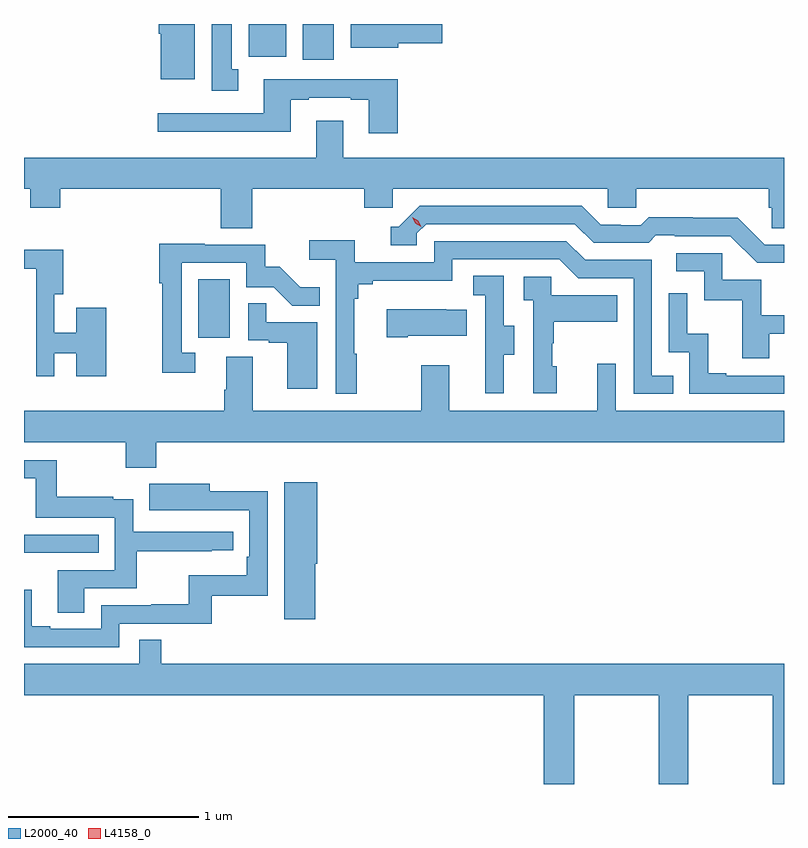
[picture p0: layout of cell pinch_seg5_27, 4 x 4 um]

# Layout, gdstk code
import gdstk
lib = gdstk.Library(unit=1e-6, precision=1e-09)
def R(c, l, rs):  # rectangles x0, y0, x1, y1
    for r in rs: c.add(gdstk.rectangle(r[:2], r[2:], *l))
def P(c, l, *ps):  # polygons
    for p in ps: c.add(gdstk.Polygon(p, *l))
L2000_40 = (2000, 40)
L4158_0 = (4158, 0)

pinch_seg5_27 = lib.new_cell('pinch_seg5_27')
R(pinch_seg5_27, L2000_40, [(1117.226,909.456,1117.619,909.552), (1118.144,910.59,1118.308,910.897), (1118.693,912.051,1118.857,912.24), (1118.408,912.068,1118.605,912.24)])
P(pinch_seg5_27, L2000_40, [(1118.125,912.24),(1117.934,912.24),(1117.934,912.188),(1117.946,912.188),(1117.946,911.948),(1118.125,911.948)],
  [(1118.353,912.002),(1118.32,912.002),(1118.32,912.24),(1118.213,912.24),(1118.213,911.889),(1118.353,911.889)],
  [(1119.196,912.14),(1119.427,912.14),(1119.427,912.24),(1118.945,912.24),(1118.945,912.116),(1119.196,912.116)],
  [(1119.194,911.95),(1118.949,911.95),(1118.949,911.949),(1118.489,911.949),(1118.489,911.769),(1117.929,911.769),(1117.929,911.672),(1118.629,911.672),(1118.629,911.841),(1118.725,911.841),(1118.725,911.853),(1118.945,911.853),(1118.945,911.841),(1119.041,911.841),(1119.041,911.664),(1119.194,911.664)],
  [(1118.905,911.731),(1118.765,911.731),(1118.765,911.536),(1117.226,911.536),(1117.226,911.372),(1117.258,911.372),(1117.258,911.273),(1117.418,911.273),(1117.418,911.372),(1118.261,911.372),(1118.261,911.164),(1118.426,911.164),(1118.426,911.372),(1119.017,911.372),(1119.017,911.274),(1119.168,911.274),(1119.168,911.372),(1120.299,911.372),(1120.299,911.274),(1120.449,911.274),(1120.449,911.372),(1121.147,911.372),(1121.147,911.274),(1121.161,911.274),(1121.161,911.164),(1121.226,911.164),(1121.226,911.536),(1118.905,911.536)],
  [(1121.226,911.079),(1121.124,911.079),(1120.982,911.221),(1120.746,911.221),(1120.746,911.224),(1120.513,911.224),(1120.471,911.181),(1120.368,911.181),(1120.368,911.184),(1120.261,911.184),(1120.162,911.283),(1119.309,911.283),(1119.198,911.172),(1119.155,911.172),(1119.155,911.076),(1119.294,911.076),(1119.294,911.139),(1119.342,911.187),(1120.125,911.187),(1120.224,911.088),(1120.513,911.088),(1120.552,911.127),(1120.651,911.127),(1120.651,911.124),(1120.944,911.124),(1121.085,910.983),(1121.226,910.983)],
  [(1118.977,910.505),(1118.965,910.505),(1118.965,910.793),(1118.984,910.793),(1118.984,910.87),(1119.061,910.87),(1119.061,910.889),(1119.48,910.889),(1119.48,911.001),(1120.044,911.001),(1120.143,910.902),(1120.434,910.902),(1120.434,910.293),(1120.643,910.293),(1120.643,910.389),(1120.53,910.389),(1120.53,910.998),(1120.18,910.998),(1120.081,911.097),(1119.384,911.097),(1119.384,910.986),(1118.966,910.986),(1118.966,911.102),(1118.727,911.102),(1118.727,911),(1118.868,911),(1118.868,910.293),(1118.977,910.293)],
  [(1118.128,910.509),(1118.055,910.509),(1118.055,910.983),(1118.397,910.983),(1118.397,910.854),(1118.541,910.854),(1118.639,910.756),(1118.783,910.756),(1118.783,910.855),(1118.679,910.855),(1118.572,910.962),(1118.496,910.962),(1118.496,911.079),(1118.177,911.079),(1118.177,911.084),(1117.939,911.084),(1117.939,910.876),(1117.954,910.876),(1117.954,910.404),(1118.128,910.404)],
  [(1117.386,910.506),(1117.502,910.506),(1117.502,910.386),(1117.66,910.386),(1117.66,910.747),(1117.502,910.747),(1117.502,910.616),(1117.386,910.616),(1117.386,910.817),(1117.433,910.817),(1117.433,911.052),(1117.226,911.052),(1117.226,910.952),(1117.29,910.952),(1117.29,910.386),(1117.386,910.386)],
  [(1121.149,910.611),(1121.226,910.611),(1121.226,910.707),(1121.107,910.707),(1121.107,910.893),(1120.902,910.893),(1120.902,911.034),(1120.659,911.034),(1120.659,910.938),(1120.806,910.938),(1120.806,910.785),(1121.005,910.785),(1121.005,910.482),(1121.149,910.482)],
  [(1119.751,910.498),(1119.805,910.498),(1119.805,910.653),(1119.75,910.653),(1119.75,910.916),(1119.591,910.916),(1119.591,910.813),(1119.654,910.813),(1119.654,910.509),(1119.653,910.509),(1119.653,910.296),(1119.751,910.296)],
  [(1120.03,910.44),(1120.005,910.44),(1120.005,910.559),(1120.015,910.559),(1120.015,910.673),(1120.349,910.673),(1120.349,910.813),(1120.002,910.813),(1120.002,910.911),(1119.855,910.911),(1119.855,910.787),(1119.906,910.787),(1119.906,910.296),(1120.03,910.296)],
  [(1121.226,910.389),(1120.921,910.389),(1120.921,910.402),(1120.826,910.402),(1120.826,910.61),(1120.716,910.61),(1120.716,910.822),(1120.62,910.822),(1120.62,910.512),(1120.728,910.512),(1120.728,910.293),(1121.226,910.293)],
  [(1118.77,910.671),(1118.501,910.671),(1118.501,910.769),(1118.406,910.769),(1118.406,910.575),(1118.513,910.575),(1118.513,910.563),(1118.612,910.563),(1118.612,910.32),(1118.77,910.32)],
  [(1119.247,910.598),(1119.557,910.598),(1119.557,910.735),(1119.449,910.735),(1119.449,910.738),(1119.135,910.738),(1119.135,910.591),(1119.247,910.591)],
  [(1117.922,910.04),(1121.226,910.04),(1121.226,910.204),(1120.341,910.204),(1120.341,910.453),(1120.244,910.453),(1120.244,910.204),(1119.463,910.204),(1119.463,910.444),(1119.316,910.444),(1119.316,910.204),(1118.431,910.204),(1118.431,910.49),(1118.291,910.49),(1118.291,910.316),(1118.279,910.316),(1118.279,910.204),(1117.226,910.204),(1117.226,910.04),(1117.762,910.04),(1117.762,909.905),(1117.922,909.905)],
  [(1117.543,909.27),(1117.82,909.27),(1117.82,909.466),(1118.213,909.466),(1118.213,909.471),(1118.326,909.471),(1118.326,909.567),(1117.8,909.567),(1117.8,909.739),(1117.697,909.739),(1117.697,909.751),(1117.399,909.751),(1117.399,909.945),(1117.226,909.945),(1117.226,909.848),(1117.288,909.848),(1117.288,909.642),(1117.704,909.642),(1117.704,909.366),(1117.403,909.366),(1117.403,909.142),(1117.543,909.142)],
  [(1118.758,909.399),(1118.77,909.399),(1118.77,909.829),(1118.597,909.829),(1118.597,909.108),(1118.758,909.108)],
  [(1117.728,909.084),(1118.215,909.084),(1118.215,909.231),(1118.508,909.231),(1118.508,909.782),(1118.203,909.782),(1118.203,909.82),(1117.885,909.82),(1117.885,909.68),(1118.099,909.68),(1118.099,909.681),(1118.412,909.681),(1118.412,909.436),(1118.399,909.436),(1118.399,909.34),(1118.094,909.34),(1118.094,909.185),(1117.897,909.185),(1117.897,909.18),(1117.632,909.18),(1117.632,909.057),(1117.363,909.057),(1117.363,909.07),(1117.267,909.07),(1117.267,909.263),(1117.226,909.263),(1117.226,908.961),(1117.728,908.961)],
  [(1120.122,908.708),(1120.567,908.708),(1120.567,908.24),(1120.722,908.24),(1120.722,908.708),(1121.167,908.708),(1121.167,908.24),(1121.226,908.24),(1121.226,908.872),(1117.949,908.872),(1117.949,908.999),(1117.833,908.999),(1117.833,908.872),(1117.226,908.872),(1117.226,908.708),(1119.962,908.708),(1119.962,908.24),(1120.122,908.24)])
P(pinch_seg5_27, L4158_0, [(1119.316,911.172),(1119.286,911.191),(1119.27,911.224),(1119.27,911.224),(1119.27,911.224),(1119.3,911.204),(1119.317,911.172),(1119.317,911.172)])

lib.write_gds('pinch_seg5_27.gds')
